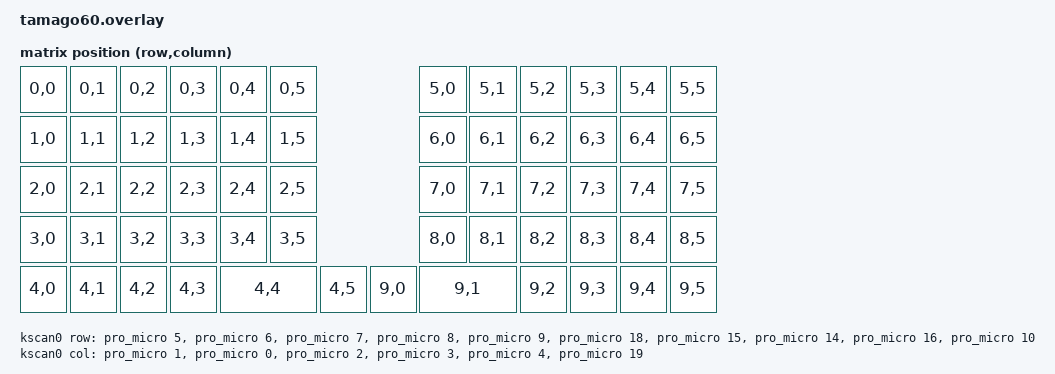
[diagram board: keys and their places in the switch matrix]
#include <zephyr/dt-bindings/input/input-event-codes.h>
/* Reference: https://docs.zephyrproject.org/apidoc/latest/group__input__events.html */

#include <zephyr/dt-bindings/dt-util.h>
#include <zephyr/dt-bindings/adc/adc.h>

#include <dt-bindings/zmk/matrix_transform.h>
#include <physical_layouts.dtsi>

&adc {
	status = "okay";
};

/ {
	chosen {
		zmk,kscan = &kscan0;
		zmk,physical-layout = &tamago60_layout;
	};    

	tamago60_layout: tamago60_layout {
     	   compatible = "zmk,physical-layout";
     	   display-name = "Default";
     	   transform = <&matrix_transform>;

     	keys  //                     w   h    x    y     rot    rx    ry
      	    = <&key_physical_attrs 100 100    0    0       0     0     0>
	    , <&key_physical_attrs 100 100  100    0       0     0     0>
	    , <&key_physical_attrs 100 100  200    0       0     0     0>
	    , <&key_physical_attrs 100 100  300    0       0     0     0>
	    , <&key_physical_attrs 100 100  400    0       0     0     0>
	    , <&key_physical_attrs 100 100  500    0       0     0     0>

            , <&key_physical_attrs 100 100    0    100       0     0     0>
	    , <&key_physical_attrs 100 100  100    100       0     0     0>
	    , <&key_physical_attrs 100 100  200    100       0     0     0>
	    , <&key_physical_attrs 100 100  300    100       0     0     0>
	    , <&key_physical_attrs 100 100  400    100       0     0     0>
	    , <&key_physical_attrs 100 100  500    100       0     0     0>
		   
            , <&key_physical_attrs 100 100    0    200       0     0     0>
	    , <&key_physical_attrs 100 100  100    200       0     0     0>
	    , <&key_physical_attrs 100 100  200    200       0     0     0>
	    , <&key_physical_attrs 100 100  300    200       0     0     0>
	    , <&key_physical_attrs 100 100  400    200       0     0     0>
	    , <&key_physical_attrs 100 100  500    200       0     0     0>

            , <&key_physical_attrs 100 100    0    300       0     0     0>
	    , <&key_physical_attrs 100 100  100    300       0     0     0>
	    , <&key_physical_attrs 100 100  200    300       0     0     0>
	    , <&key_physical_attrs 100 100  300    300       0     0     0>
	    , <&key_physical_attrs 100 100  400    300       0     0     0>
	    , <&key_physical_attrs 100 100  500    300       0     0     0>

            , <&key_physical_attrs 100 100    0    400       0     0     0>
	    , <&key_physical_attrs 100 100  100    400       0     0     0>
	    , <&key_physical_attrs 100 100  200    400       0     0     0>
	    , <&key_physical_attrs 100 100  300    400       0     0     0>
	    , <&key_physical_attrs 200 100  400    400       0     0     0>
	    , <&key_physical_attrs 100 100  600    400       0     0     0>



            , <&key_physical_attrs 100 100  1300     0       0     0     0>
	    , <&key_physical_attrs 100 100  1200     0       0     0     0>
	    , <&key_physical_attrs 100 100  1100     0       0     0     0>
	    , <&key_physical_attrs 100 100  1000     0       0     0     0>
	    , <&key_physical_attrs 100 100   900     0       0     0     0>
	    , <&key_physical_attrs 100 100   800     0       0     0     0>

            , <&key_physical_attrs 100 100  1300     100       0     0     0>
	    , <&key_physical_attrs 100 100  1200     100       0     0     0>
	    , <&key_physical_attrs 100 100  1100     100       0     0     0>
	    , <&key_physical_attrs 100 100  1000     100       0     0     0>
	    , <&key_physical_attrs 100 100  900      100       0     0     0>
	    , <&key_physical_attrs 100 100  800      100       0     0     0>

            , <&key_physical_attrs 100 100  1300     200       0     0     0>
	    , <&key_physical_attrs 100 100  1200     200       0     0     0>
	    , <&key_physical_attrs 100 100  1100     200       0     0     0>
	    , <&key_physical_attrs 100 100  1000     200       0     0     0>
	    , <&key_physical_attrs 100 100  900      200       0     0     0>
	    , <&key_physical_attrs 100 100  800      200       0     0     0>

            , <&key_physical_attrs 100 100  1300     300       0     0     0>
	    , <&key_physical_attrs 100 100  1200     300       0     0     0>
	    , <&key_physical_attrs 100 100  1100     300       0     0     0>
	    , <&key_physical_attrs 100 100  1000     300       0     0     0>
	    , <&key_physical_attrs 100 100  900      300       0     0     0>
	    , <&key_physical_attrs 100 100  800      300       0     0     0>

            , <&key_physical_attrs 100 100  1300     400       0     0     0>
	    , <&key_physical_attrs 100 100  1200     400       0     0     0>
	    , <&key_physical_attrs 100 100  1100     400       0     0     0>
	    , <&key_physical_attrs 100 100  1000     400       0     0     0>
	    , <&key_physical_attrs 200 100  800      400       0     0     0>
	    , <&key_physical_attrs 100 100  700      400       0     0     0>
            ;
    };


    kscan0: kscan0 {
        compatible = "zmk,kscan-gpio-matrix";
        wakeup-source;
        diode-direction = "col2row";

        row-gpios
            = <&pro_micro 5 GPIO_ACTIVE_HIGH> // col 0
            , <&pro_micro 6 GPIO_ACTIVE_HIGH> // col 1
            , <&pro_micro 7 GPIO_ACTIVE_HIGH> // col 2
            , <&pro_micro 8 GPIO_ACTIVE_HIGH> // col 3
            , <&pro_micro 9 GPIO_ACTIVE_HIGH> // col 4
            , <&pro_micro 18 GPIO_ACTIVE_HIGH> // col 5
            , <&pro_micro 15 GPIO_ACTIVE_HIGH> // col 6
            , <&pro_micro 14 GPIO_ACTIVE_HIGH> // col 7
            , <&pro_micro 16 GPIO_ACTIVE_HIGH> // col 8
            , <&pro_micro 10 GPIO_ACTIVE_HIGH> // col 9
            ;

        col-gpios
            = <&pro_micro 1 (GPIO_ACTIVE_HIGH | GPIO_PULL_DOWN)> // row 0
            , <&pro_micro 0 (GPIO_ACTIVE_HIGH | GPIO_PULL_DOWN)> // row 1
            , <&pro_micro 2 (GPIO_ACTIVE_HIGH | GPIO_PULL_DOWN)> // row 2
            , <&pro_micro 3 (GPIO_ACTIVE_HIGH | GPIO_PULL_DOWN)> // row 3
            , <&pro_micro 4 (GPIO_ACTIVE_HIGH | GPIO_PULL_DOWN)> // row 4
            , <&pro_micro 19 (GPIO_ACTIVE_HIGH | GPIO_PULL_DOWN)> // row 5
            ;
    };

    matrix_transform: matrix_transform {
        compatible = "zmk,matrix-transform";
        columns = <6>; // Length of the "col-gpios" array
        rows = <10>; // Length of the "row-gpios" array
        map = <
            RC(0,0) RC(0,1) RC(0,2) RC(0,3) RC(0,4) RC(0,5)
            RC(1,0) RC(1,1) RC(1,2) RC(1,3) RC(1,4) RC(1,5)
            RC(2,0) RC(2,1) RC(2,2) RC(2,3) RC(2,4) RC(2,5)
            RC(3,0) RC(3,1) RC(3,2) RC(3,3) RC(3,4) RC(3,5)
            RC(4,0) RC(4,1) RC(4,2) RC(4,3) RC(4,4) RC(4,5)
            RC(5,5) RC(5,4) RC(5,3) RC(5,2) RC(5,1) RC(5,0)
            RC(6,5) RC(6,4) RC(6,3) RC(6,2) RC(6,1) RC(6,0)
            RC(7,5) RC(7,4) RC(7,3) RC(7,2) RC(7,1) RC(7,0)
            RC(8,5) RC(8,4) RC(8,3) RC(8,2) RC(8,1) RC(8,0)
            RC(9,5) RC(9,4) RC(9,3) RC(9,2) RC(9,1) RC(9,0)
        >;
    };

/* analog input driver from https://github.com/badjeff/zmk-analog-input-driver */
	anin0: analog_input_0 {
		compatible = "zmk,analog-input";
		sampling-hz = <400>;
		x-ch {
			io-channels = <&adc 2>;
			mv-mid = <1630>;
			mv-min-max = <1600>;
			mv-deadzone = <10>;
			scale-multiplier = <1>;
			scale-divisor = <70>;
			invert;
			evt-type = <INPUT_EV_REL>;
			input-code = <INPUT_REL_X>;
		};
		y-ch {
			io-channels = <&adc 3>;
			mv-mid = <1630>;
			mv-min-max = <1600>;
			mv-deadzone = <10>;
			scale-multiplier = <3>;
			scale-divisor = <4>;
			invert;
			evt-type = <INPUT_EV_REL>;
			input-code = <INPUT_REL_Y>;

			/* enable report mode for gamepad axis or knob */
			/* to only call input_report on quantized value is updated */
			report-on-change-only;

		};
	};
};
